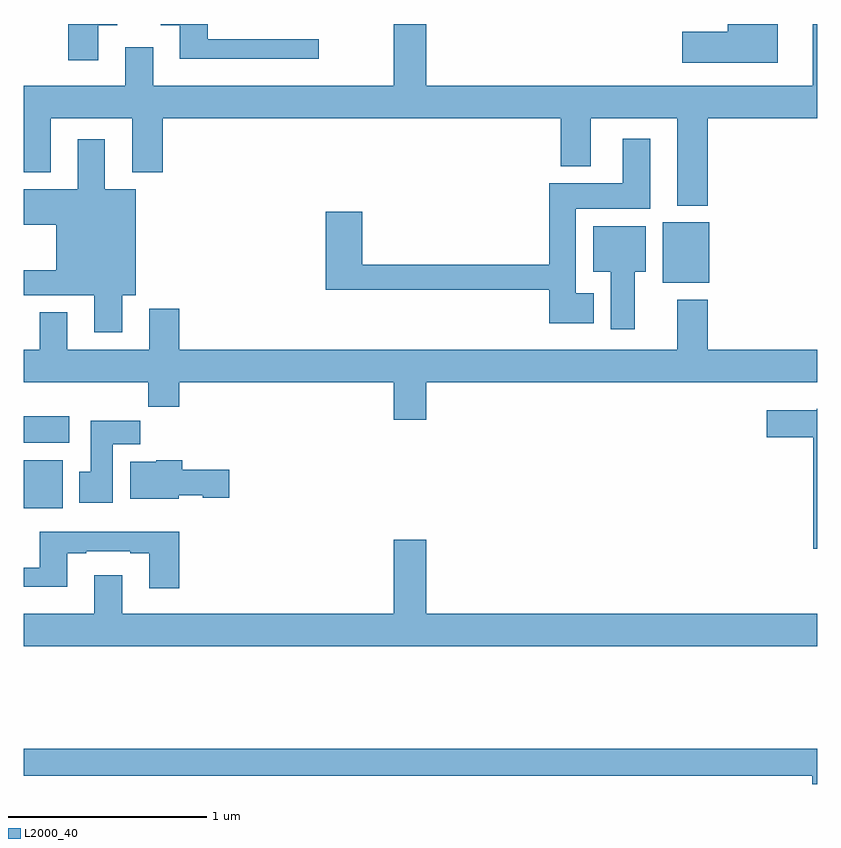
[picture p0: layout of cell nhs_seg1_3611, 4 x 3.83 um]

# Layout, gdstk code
import gdstk
lib = gdstk.Library(unit=1e-6, precision=1e-09)
def R(c, l, rs):  # rectangles x0, y0, x1, y1
    for r in rs: c.add(gdstk.rectangle(r[:2], r[2:], *l))
def P(c, l, *ps):  # polygons
    for p in ps: c.add(gdstk.Polygon(p, *l))
L2000_40 = (2000, 40)

nhs_seg1_3611 = lib.new_cell('nhs_seg1_3611')
R(nhs_seg1_3611, L2000_40, [(307,557.756,307.195,557.998), (307,558.086,307.228,558.22), (310.223,558.893,310.456,559.198)])
P(nhs_seg1_3611, L2000_40, [(310.801,560.199),(310.55,560.199),(310.55,560.161),(310.32,560.161),(310.32,560.003),(310.801,560.003)],
  [(308.488,560.121),(307.927,560.121),(307.927,560.199),(307.691,560.199),(307.691,560.193),(307.787,560.193),(307.787,560.024),(308.488,560.024)],
  [(307.375,560.193),(307.471,560.193),(307.471,560.199),(307.223,560.199),(307.223,560.016),(307.375,560.016)],
  [(307,559.451),(307.135,559.451),(307.135,559.724),(307.547,559.724),(307.547,559.451),(307.7,559.451),(307.7,559.724),(309.707,559.724),(309.707,559.481),(309.859,559.481),(309.859,559.724),(310.295,559.724),(310.295,559.283),(310.448,559.283),(310.448,559.724),(311,559.724),(311,560.199),(310.979,560.199),(310.979,559.888),(309.028,559.888),(309.028,560.199),(308.864,560.199),(308.864,559.888),(307.651,559.888),(307.651,560.083),(307.511,560.083),(307.511,559.888),(307,559.888)],
  [(309.874,558.841),(309.784,558.841),(309.784,559.268),(310.159,559.268),(310.159,559.621),(310.019,559.621),(310.019,559.396),(309.65,559.396),(309.65,558.986),(308.705,558.986),(308.705,559.252),(308.522,559.252),(308.522,558.858),(309.65,558.858),(309.65,558.689),(309.874,558.689)],
  [(307.495,558.83),(307.564,558.83),(307.564,559.366),(307.408,559.366),(307.408,559.618),(307.271,559.618),(307.271,559.366),(307,559.366),(307,559.187),(307.163,559.187),(307.163,558.958),(307,558.958),(307,558.83),(307.355,558.83),(307.355,558.645),(307.495,558.645)],
  [(310.081,558.95),(310.135,558.95),(310.135,559.18),(309.872,559.18),(309.872,558.95),(309.959,558.95),(309.959,558.66),(310.081,558.66)],
  [(309.028,558.392),(311,558.392),(311,558.556),(310.448,558.556),(310.448,558.808),(310.295,558.808),(310.295,558.556),(307.784,558.556),(307.784,558.763),(307.631,558.763),(307.631,558.556),(307.219,558.556),(307.219,558.745),(307.079,558.745),(307.079,558.556),(307,558.556),(307,558.392),(307.627,558.392),(307.627,558.268),(307.784,558.268),(307.784,558.392),(308.864,558.392),(308.864,558.204),(309.028,558.204)],
  [(311,558.259),(310.998,558.259),(310.998,558.25),(310.746,558.25),(310.746,558.116),(310.982,558.116),(310.982,557.552),(311,557.552)],
  [(307.447,558.08),(307.586,558.08),(307.586,558.199),(307.337,558.199),(307.337,557.94),(307.28,557.94),(307.28,557.784),(307.447,557.784)],
  [(307.782,557.822),(307.902,557.822),(307.902,557.81),(308.035,557.81),(308.035,557.952),(307.799,557.952),(307.799,557.998),(307.668,557.998),(307.668,557.992),(307.535,557.992),(307.535,557.804),(307.782,557.804)],
  [(307.784,557.638),(307.079,557.638),(307.079,557.457),(307,557.457),(307,557.36),(307.219,557.36),(307.219,557.529),(307.315,557.529),(307.315,557.541),(307.535,557.541),(307.535,557.529),(307.631,557.529),(307.631,557.352),(307.784,557.352)],
  [(311,557.224),(309.028,557.224),(309.028,557.599),(308.864,557.599),(308.864,557.224),(307.495,557.224),(307.495,557.419),(307.355,557.419),(307.355,557.224),(307,557.224),(307,557.06),(311,557.06)],
  [(311,556.544),(307,556.544),(307,556.408),(310.976,556.408),(310.976,556.366),(311,556.366)])

lib.write_gds('nhs_seg1_3611.gds')
